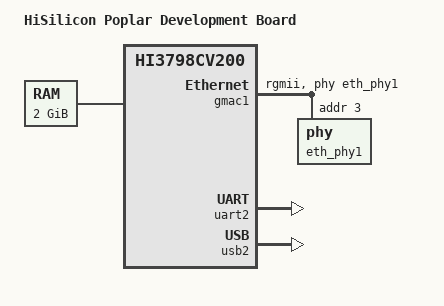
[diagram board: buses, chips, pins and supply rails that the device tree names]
/*
 * DTS File for HiSilicon Poplar Development Board
 *
 * Copyright (c) 2016-2017 HiSilicon Technologies Co., Ltd.
 *
 * Released under the GPLv2 only.
 * SPDX-License-Identifier: GPL-2.0
 */

/dts-v1/;

#include <dt-bindings/gpio/gpio.h>
#include "hi3798cv200.dtsi"

/ {
	model = "HiSilicon Poplar Development Board";
	compatible = "hisilicon,hi3798cv200-poplar", "hisilicon,hi3798cv200";

	aliases {
		serial0 = &uart0;
		serial2 = &uart2;
	};

	chosen {
		stdout-path = [00];
	};

	memory@0 {
		device_type = "memory";
		reg = <0x0 0x0 0x0 0x80000000>;
	};
};

&gmac1 {
	status = "okay";
	#address-cells = <1>;
	#size-cells = <0>;
	phy-handle = <&eth_phy1>;
	phy-mode = "rgmii";
	hisilicon,phy-reset-delays-us = <10000 10000 30000>;

	eth_phy1: phy@3 {
		reg = <3>;
	};
};

&uart2 {
	status = "okay";
	label = "LS-UART0";
};

&usb2 {
	status = "okay";
};

